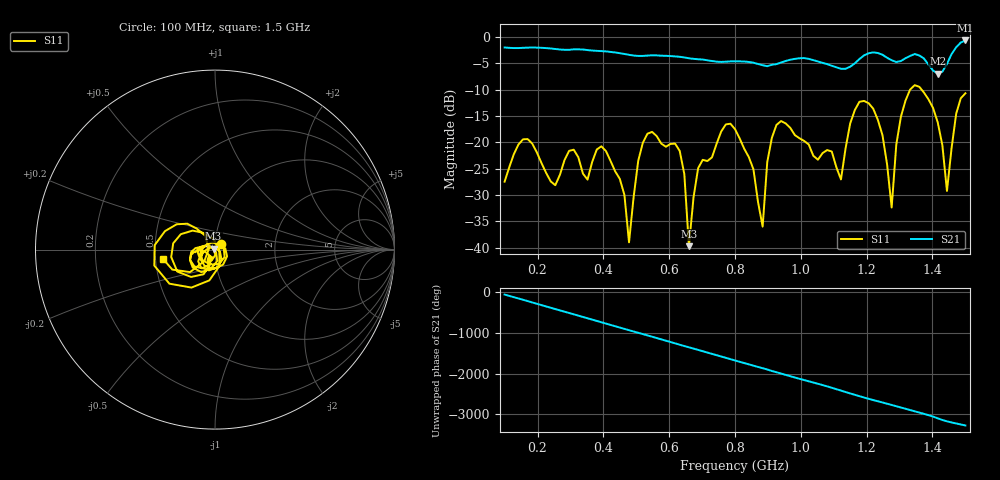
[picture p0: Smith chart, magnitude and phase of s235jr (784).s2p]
! NanoVNA-App
! Date: 2025-09-25 15:10:16
! Start: 100MHz Stop: 1,5GHz Points: 101
! S-Parameter data: F S11 S21 S12 S22
# Hz S RI R 50
!  Frequency  S11_Real  S11_Imag  S21_Real  S21_Imag  S12_Real  S12_Imag  S22_Real  S22_Imag
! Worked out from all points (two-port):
!   101 points, 100 MHz to 1.5 GHz, reference 50 ohm
!   highest |S21| = -0.64 dB at 1.5 GHz (marker M1); lowest = -6.9 dB at 1.416 GHz (marker M2)
!   |S21| within 3 dB of the highest: start of sweep to 611.9 MHz; 1.189 GHz to 1.255 GHz (66.22 MHz wide, 5.42 % of centre) (the widest 2 of 4)
!   lowest |S11| = -39.7 dB at 660 MHz (marker M3), VSWR 1.02, Z = 49.2 + j0.599 ohm
!   |S11| at or under -10 dB: start of sweep to 1.332 GHz; 1.367 GHz to end of sweep
!   S12 and S22 are empty: the file has one direction only
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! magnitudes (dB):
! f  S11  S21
! 100 MHz  -27.5  -2.0
! 156 MHz  -19.4  -2.0
! 338 MHz  -25.9  -2.4
! 408 MHz  -21.7  -2.7
! 478 MHz  -39.0  -3.4
! 520 MHz  -20.1  -3.6
! 576 MHz  -20.2  -3.5
! 632 MHz  -21.6  -3.7
! 660 MHz  -39.7  -4.0
! 688 MHz  -24.9  -4.2
! 800 MHz  -17.5  -4.6
! 884 MHz  -36.0  -5.3
! 926 MHz  -16.7  -5.1
! 1.038 GHz  -22.6  -4.4
! 1.122 GHz  -27.0  -6.0
! 1.206 GHz  -12.6  -3.1
! 1.276 GHz  -32.4  -4.4
! 1.29 GHz  -20.4  -4.7
! 1.332 GHz  -10.0  -3.6
! 1.416 GHz  -16.2  -6.9
! 1.444 GHz  -29.2  -5.1
! 1.5 GHz  -10.7  -0.6
